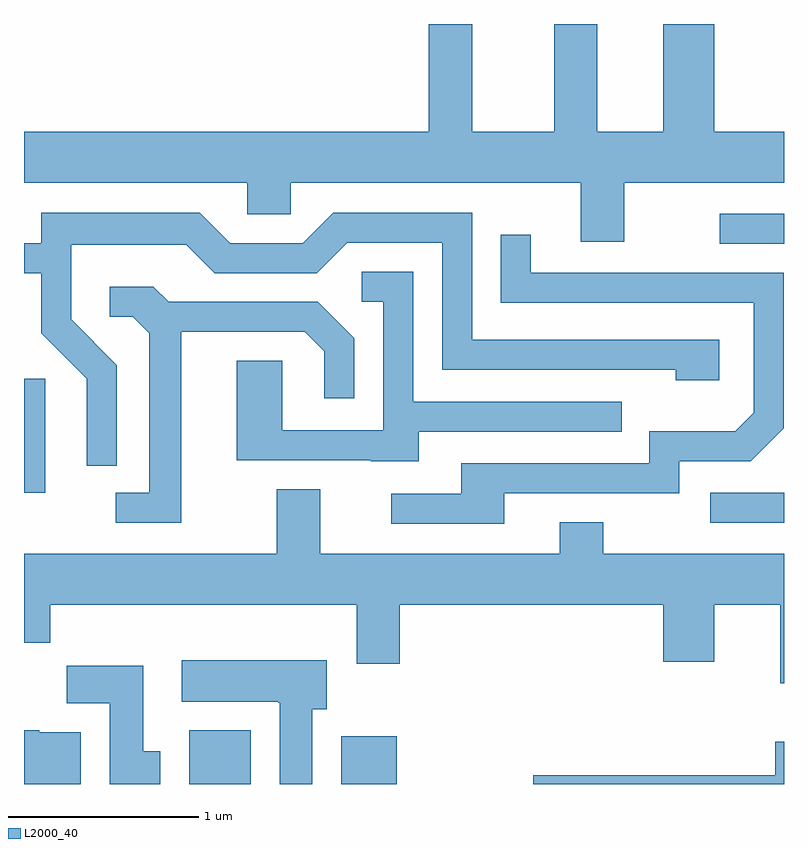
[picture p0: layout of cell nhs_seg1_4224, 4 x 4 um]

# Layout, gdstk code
import gdstk
lib = gdstk.Library(unit=1e-6, precision=1e-09)
def R(c, l, rs):  # rectangles x0, y0, x1, y1
    for r in rs: c.add(gdstk.rectangle(r[:2], r[2:], *l))
def P(c, l, *ps):  # polygons
    for p in ps: c.add(gdstk.Polygon(p, *l))
L2000_40 = (2000, 40)

nhs_seg1_4224 = lib.new_cell('nhs_seg1_4224')
R(nhs_seg1_4224, L2000_40, [(312.481,929.712,312.804,929.994), (313.281,929.712,313.574,929.964), (315.223,931.086,315.611,931.244), (311.611,931.246,311.724,931.844), (315.273,932.556,315.611,932.714)])
P(nhs_seg1_4224, L2000_40, [(314.769,932.876),(315.611,932.876),(315.611,933.144),(315.244,933.144),(315.244,933.712),(314.976,933.712),(314.976,933.144),(314.629,933.144),(314.629,933.712),(314.401,933.712),(314.401,933.144),(313.969,933.144),(313.969,933.712),(313.741,933.712),(313.741,933.144),(311.611,933.144),(311.611,932.876),(312.786,932.876),(312.786,932.711),(313.014,932.711),(313.014,932.876),(314.541,932.876),(314.541,932.566),(314.769,932.566)],
  [(312.099,931.917),(311.859,932.157),(311.859,932.551),(312.464,932.551),(312.614,932.401),(313.152,932.401),(313.312,932.561),(313.811,932.561),(313.811,931.891),(315.041,931.891),(315.041,931.836),(315.269,931.836),(315.269,932.049),(313.969,932.049),(313.969,932.719),(313.239,932.719),(313.079,932.559),(312.697,932.559),(312.537,932.719),(311.701,932.719),(311.701,932.559),(311.611,932.559),(311.611,932.401),(311.701,932.401),(311.701,932.084),(311.941,931.844),(311.941,931.388),(312.099,931.388)],
  [(314.139,931.241),(315.059,931.241),(315.059,931.411),(315.437,931.411),(315.609,931.584),(315.609,932.404),(314.279,932.404),(314.279,932.603),(314.121,932.603),(314.121,932.246),(315.451,932.246),(315.451,931.667),(315.354,931.569),(314.901,931.569),(314.901,931.399),(313.911,931.399),(313.911,931.239),(313.543,931.239),(313.543,931.081),(314.139,931.081)],
  [(313.689,931.566),(314.758,931.566),(314.758,931.724),(313.659,931.724),(313.659,932.409),(313.388,932.409),(313.388,932.251),(313.501,932.251),(313.501,931.574),(312.969,931.574),(312.969,931.939),(312.731,931.939),(312.731,931.416),(313.435,931.416),(313.435,931.411),(313.689,931.411)],
  [(312.439,932.091),(313.089,932.091),(313.191,931.989),(313.191,931.743),(313.349,931.743),(313.349,932.057),(313.157,932.249),(312.372,932.249),(312.292,932.329),(312.063,932.329),(312.063,932.171),(312.184,932.171),(312.271,932.084),(312.271,931.244),(312.093,931.244),(312.093,931.086),(312.439,931.086)],
  [(315.611,930.924),(314.659,930.924),(314.659,931.089),(314.431,931.089),(314.431,930.924),(313.169,930.924),(313.169,931.264),(312.941,931.264),(312.941,930.924),(311.611,930.924),(311.611,930.456),(311.749,930.456),(311.749,930.656),(313.361,930.656),(313.361,930.346),(313.589,930.346),(313.589,930.656),(314.976,930.656),(314.976,930.356),(315.244,930.356),(315.244,930.656),(315.591,930.656),(315.591,930.241),(315.611,930.241)],
  [(313.129,930.106),(313.204,930.106),(313.204,930.364),(312.441,930.364),(312.441,930.146),(312.95,930.146),(312.95,930.14),(312.956,930.14),(312.956,929.712),(313.129,929.712)],
  [(312.329,929.884),(312.239,929.884),(312.239,930.334),(311.836,930.334),(311.836,930.136),(312.061,930.136),(312.061,929.712),(312.329,929.712)],
  [(311.909,929.984),(311.69,929.984),(311.69,929.994),(311.611,929.994),(311.611,929.712),(311.909,929.712)],
  [(315.611,929.934),(315.566,929.934),(315.566,929.759),(314.291,929.759),(314.291,929.712),(315.611,929.712)])

lib.write_gds('nhs_seg1_4224.gds')
